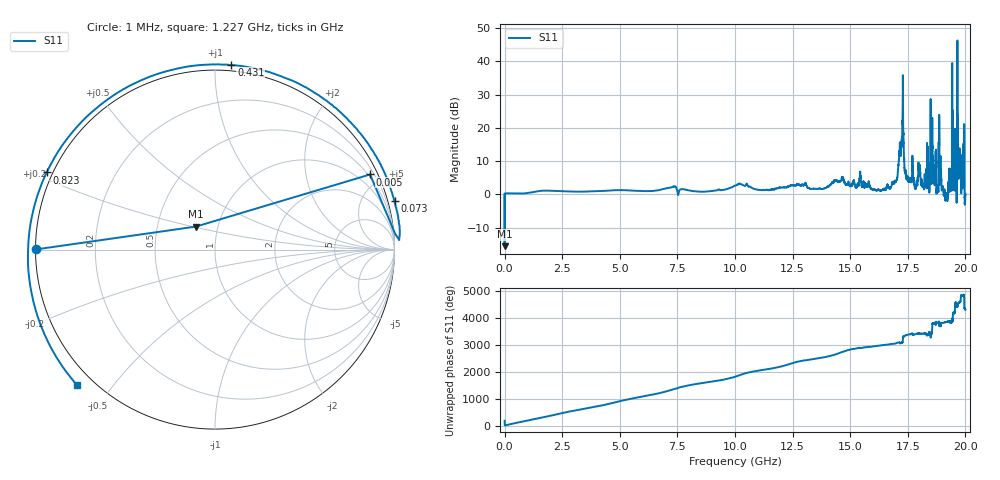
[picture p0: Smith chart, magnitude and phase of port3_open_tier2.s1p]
! Created with skrf 1.8.0 (http://scikit-rf.org).
# GHz S RI R 50.0
!freq ReS11 ImS11
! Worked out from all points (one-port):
!   10001 points, 1 MHz to 20 GHz, reference 50 ohm
!   lowest |S11| = -15.6 dB at 3 MHz (marker M1), VSWR 1.40, Z = 39.2 + j10.4 ohm
!   |S11| at or under -10 dB: 2.284 MHz to 3.733 MHz (1.449 MHz wide, 48.2 % of centre)
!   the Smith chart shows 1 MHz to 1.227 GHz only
!   S11 on the Smith chart (normalised r, x): 1 MHz: 0.00, +0.00; 5 MHz: 0.40, +4.32; 73 MHz: -1.02, +7.44; 431 MHz: -0.04, +1.09; 823 MHz: -0.02, +0.22; 1.227 GHz: -0.04, -0.41
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0.001  -0.9999 0.000806
0.0029999  -0.1059 0.1283
0.0049998  0.8641 0.4185
0.0729964  1.001 0.2689
0.4309785  0.0911 1.029
0.8229589  -0.9376 0.4301
1.226939  -0.7699 -0.7545
2.500875  -0.2955 1.077
4.104795  1.114 0.1081
5.00075  -1.15 -0.1385
7.500625  0.6655 -0.8932
8.912554  -1.105 -0.1355
10.0005  1.304 0.3497
10.54247  -1.323 0.3594
11.81641  1.23 0.1042
12.50038  -1.326 0.3392
13.06635  0.00571 -1.454
14.25629  -0.2727 1.487
15.00025  0.8663 -1.029
16.58817  -0.9043 0.8905
17.18414  -3.79 -0.5563
17.38213  -0.9107 2.015
17.50013  -1.304 1.106
18.62207  -2.211 -0.7083
19.35203  0.4521 -1.369
19.65002  -3.615 -0.3703
19.77001  0.7863 -2.505
20  0.9879 -0.1275
